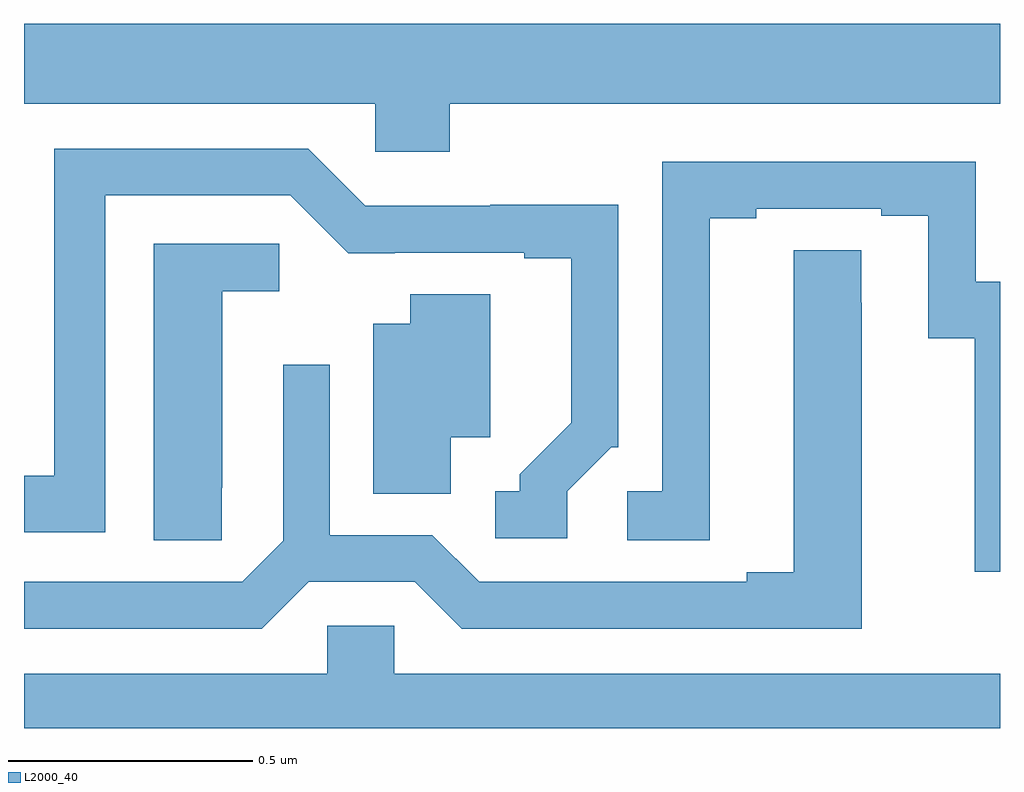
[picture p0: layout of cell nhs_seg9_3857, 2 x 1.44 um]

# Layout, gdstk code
import gdstk
lib = gdstk.Library(unit=1e-6, precision=1e-09)
def P(c, l, *ps):  # polygons
    for p in ps: c.add(gdstk.Polygon(p, *l))
L2000_40 = (2000, 40)

nhs_seg9_3857 = lib.new_cell('nhs_seg9_3857')
P(nhs_seg9_3857, L2000_40, [(159.872,1169.78),(161,1169.78),(161,1169.944),(159,1169.944),(159,1169.78),(159.72,1169.78),(159.72,1169.682),(159.872,1169.682)],
  [(160.113,1168.986),(160.203,1169.076),(160.218,1169.076),(160.218,1169.573),(159.955,1169.573),(159.955,1169.571),(159.699,1169.571),(159.582,1169.688),(159.062,1169.688),(159.062,1169.018),(159,1169.018),(159,1168.902),(159.166,1168.902),(159.166,1169.592),(159.546,1169.592),(159.664,1169.474),(159.76,1169.474),(159.76,1169.475),(160.025,1169.475),(160.025,1169.463),(160.121,1169.463),(160.121,1169.126),(160.016,1169.021),(160.016,1168.986),(159.966,1168.986),(159.966,1168.89),(160.113,1168.89)],
  [(161,1169.415),(160.95,1169.415),(160.95,1169.661),(160.308,1169.661),(160.308,1168.986),(160.236,1168.986),(160.236,1168.885),(160.405,1168.885),(160.405,1169.545),(160.501,1169.545),(160.501,1169.565),(160.757,1169.565),(160.757,1169.55),(160.853,1169.55),(160.853,1169.299),(160.948,1169.299),(160.948,1168.821),(161,1168.821)],
  [(159.405,1168.993),(159.406,1168.993),(159.406,1169.396),(159.523,1169.396),(159.523,1169.493),(159.266,1169.493),(159.266,1168.885),(159.405,1168.885)],
  [(159.583,1168.8),(159.801,1168.8),(159.897,1168.704),(160.717,1168.704),(160.717,1169.372),(160.716,1169.372),(160.716,1169.48),(160.577,1169.48),(160.577,1168.82),(160.481,1168.82),(160.481,1168.8),(159.933,1168.8),(159.837,1168.896),(159.627,1168.896),(159.627,1169.245),(159.531,1169.245),(159.531,1168.884),(159.447,1168.8),(159,1168.8),(159,1168.704),(159.487,1168.704)],
  [(159.874,1169.096),(159.955,1169.096),(159.955,1169.39),(159.791,1169.39),(159.791,1169.329),(159.716,1169.329),(159.716,1168.981),(159.874,1168.981)],
  [(161,1168.612),(159.759,1168.612),(159.759,1168.71),(159.621,1168.71),(159.621,1168.612),(159,1168.612),(159,1168.5),(161,1168.5)])

lib.write_gds('nhs_seg9_3857.gds')
